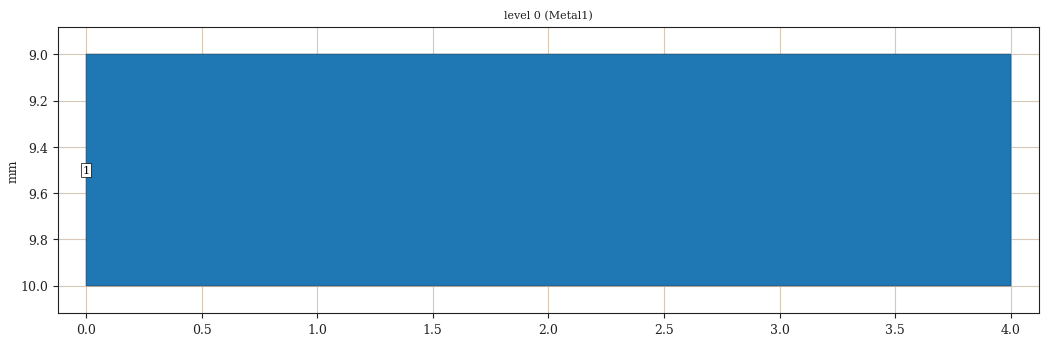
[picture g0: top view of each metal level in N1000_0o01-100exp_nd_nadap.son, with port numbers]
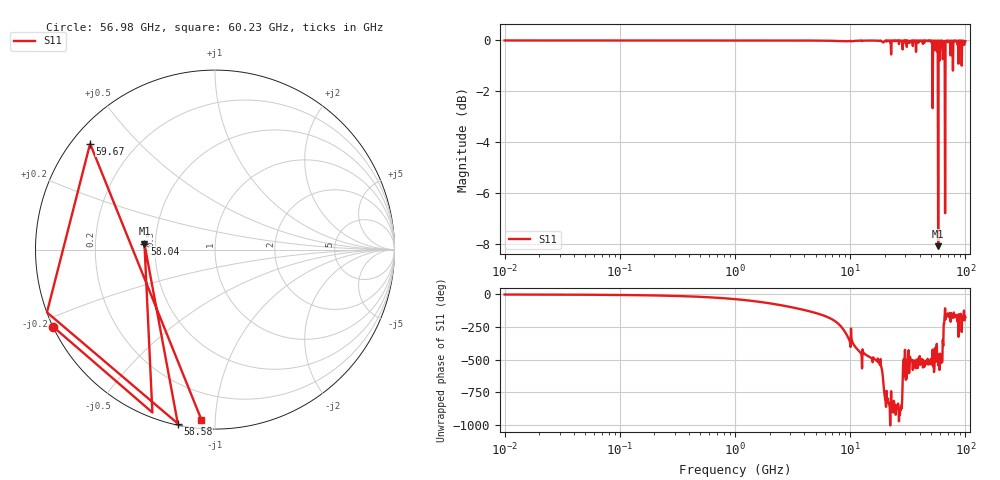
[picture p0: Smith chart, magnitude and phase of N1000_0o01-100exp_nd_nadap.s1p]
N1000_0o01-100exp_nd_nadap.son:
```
FTYP SONPROJ 19 ! Sonnet Project File
VER 18.56
HEADER
LIC sonnet10.72.52417
DAT 02/25/2023 12:39:39
BUILT_BY_CREATED xgeom 18.56 02/17/2023 13:10:04
BUILT_BY_SAVED sonnet 18.56
MDATE 02/25/2023 12:39:39
HDATE 02/25/2023 12:39:39
END HEADER
DIM
ANG DEG
CAP PF
CON /OH
FREQ GHZ
IND NH
LNG MM
RES OH
END DIM
CONTROL
VARSWP
OPTIONS 
SPEED 0
CACHE_ABS 2
Q_ACC N
END CONTROL
GEO
TMET "Lossless" 0 SUP 0 0 0 0
BMET "Lossless" 0 SUP 0 0 0 0
MET "Copper" 1 NOR 58000000 0.5 0.1 
BOX 1 30 15 600 300 20 0
      5 1 1 0 0 0 0 "Air"
      1 10 1 0 0 0 0 "Substrate"
TECHLAY METAL Metal1 <UNSPECIFIED> -2 -65534 
0 0 0 N 34 1 1 100 100 0 0 0 Y
END
END
LORGN 0 6.35 U 
POR1 BOX
POLY 24 1
3
1 50 0 0 0 0 9.5 
NUM 1
0 5 0 N 24 1 1 100 100 0 0 0 Y
TLAYNAM Metal1 INH
0 9
4 9
4 10
0 10
0 9
END
END GEO
OPT
MAX 100
END OPT
VARSWP
ENABLED Y
FREQ N AY ABS_ENTRY UNK 
FREQ Y AN ESWEEP 0.01 100.0 1000
END
END VARSWP
FILEOUT
TOUCH D Y $BASENAME.s1p IC 15 S MA R 50.00000
FOLDER .
END FILEOUT
```
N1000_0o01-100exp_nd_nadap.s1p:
! Sonnet Data File
! From: em Version : 18.56
! From Project: N1000_0o01-100exp_nd_nadap
! Data is De-embedded
! Data File Written: 03/04/2023 10:16:57
!< HDATE 02/25/2023 12:39:39
!< MDATE 02/25/2023 12:39:39
# GHZ S MA R 50.00000
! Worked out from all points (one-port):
!   1000 points, 10 MHz to 100 GHz, reference 50 ohm
!   lowest |S11| = -8.1 dB at 58.04 GHz (marker M1), VSWR 2.30, Z = 21.7 + j1.68 ohm
!   |S11| at or under -10 dB: nowhere
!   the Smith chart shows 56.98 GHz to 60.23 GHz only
!   S11 on the Smith chart (normalised r, x): 56.98 GHz: 0.00, -0.23; 58.04 GHz: 0.43, +0.03; 58.58 GHz: 0.01, -0.81; 59.67 GHz: 0.05, +0.37; 60.23 GHz: 0.05, -0.92
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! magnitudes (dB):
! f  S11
! 10 MHz  0.0
! 215.4 MHz  0.0
! 4.642 GHz  0.0
! 48.27 GHz  0.0
! 54.92 GHz  0.0
! 56.98 GHz  0.0
! 58.04 GHz  -8.1
! 58.58 GHz  -0.1
! 59.67 GHz  -0.8
! 60.23 GHz  -0.4
! 61.35 GHz  0.0
! 66.65 GHz  -6.8
! 70.44 GHz  -0.1
! 100 GHz  0.0
